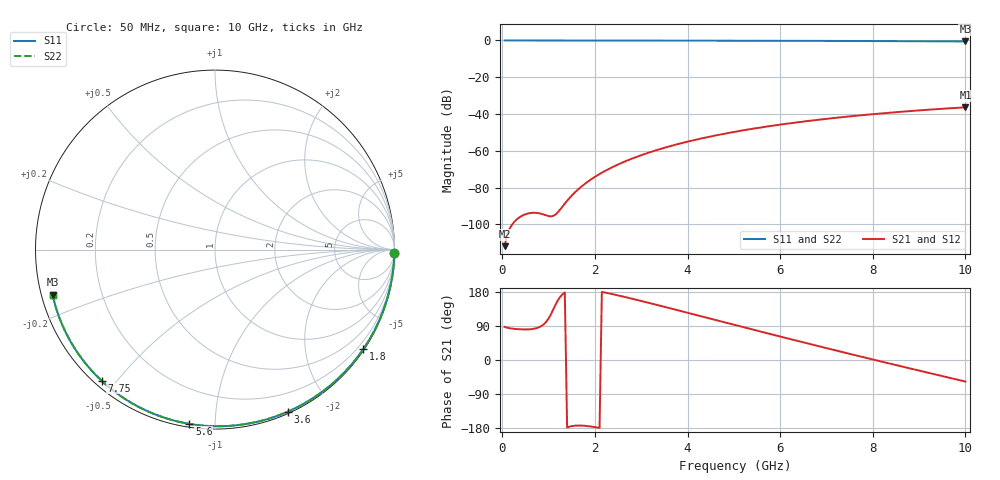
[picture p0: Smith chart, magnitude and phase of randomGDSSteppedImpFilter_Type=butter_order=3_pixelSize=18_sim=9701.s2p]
! freq	dB(S11)	phase(S11)	dB(S12)	phase(S12)
!  dB(S21)	phase(S21)	dB(S22)	phase(S22)
!S-par simulation data
#  GHz  S  DB  R 50
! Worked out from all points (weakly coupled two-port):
!   200 points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, 50 MHz to 10 GHz, reference 50 ohm
!   highest |S21| = -36.37 dB at 10 GHz (marker M1); lowest = -111.9 dB at 50 MHz (marker M2)
!   lowest |S11| = -0.5 dB at 10 GHz (marker M3), VSWR 31.94, Z = 1.59 - j6.82 ohm
!   |S11| at or under -10 dB: nowhere
!   |S22| runs from -0.5 to 0.0 dB; largest |S21 - S12| = 0
!   S11 on the Smith chart (normalised r, x): 50 MHz: open; 1.8 GHz: 0.03, -3.29; 3.6 GHz: 0.02, -1.55; 5.6 GHz: 0.02, -0.86; 7.75 GHz: 0.02, -0.46; 10 GHz: 0.03, -0.14
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0.05  -0.00 -1.0  -111.88 87.5  -111.88 87.5  -0.00 -1.0
0.45  -0.01 -8.6  -95.06 80.8  -95.06 80.8  -0.01 -8.6
0.85  -0.02 -16.2  -94.31 90.0  -94.31 90.0  -0.02 -16.2
1.65  -0.04 -31.1  -80.73 -172.9  -80.73 -172.9  -0.04 -31.1
1.7  -0.04 -32.0  -79.65 -173.0  -79.65 -173.0  -0.04 -32.0
1.75  -0.04 -32.9  -78.63 -173.3  -78.63 -173.3  -0.04 -32.9
1.8  -0.04 -33.8  -77.65 -173.8  -77.65 -173.8  -0.04 -33.8
2.1  -0.05 -39.3  -72.64 -179.3  -72.64 -179.3  -0.05 -39.3
2.3  -0.06 -42.9  -69.89 175.9  -69.89 175.9  -0.06 -42.9
2.5  -0.06 -46.5  -67.46 170.5  -67.46 170.5  -0.06 -46.5
2.9  -0.07 -53.6  -63.32 158.8  -63.32 158.8  -0.07 -53.6
3.4  -0.08 -62.3  -59.12 143.5  -59.12 143.5  -0.08 -62.3
3.6  -0.09 -65.8  -57.66 137.3  -57.66 137.3  -0.09 -65.8
4.3  -0.11 -77.5  -53.29 115.2  -53.29 115.2  -0.11 -77.5
5.05  -0.14 -89.7  -49.55 91.6  -49.55 91.6  -0.14 -89.7
5.6  -0.16 -98.4  -47.25 74.4  -47.25 74.4  -0.16 -98.4
6.15  -0.19 -106.9  -45.25 57.3  -45.25 57.3  -0.19 -106.9
6.7  -0.22 -115.2  -43.50 40.4  -43.50 40.4  -0.22 -115.2
7.75  -0.30 -130.9  -40.68 8.8  -40.68 8.8  -0.30 -130.9
8.35  -0.36 -139.7  -39.32 -9.0  -39.32 -9.0  -0.36 -139.7
9.2  -0.45 -152.4  -37.67 -33.8  -37.67 -33.8  -0.45 -152.4
10  -0.54 -164.5  -36.37 -56.8  -36.37 -56.8  -0.54 -164.5
